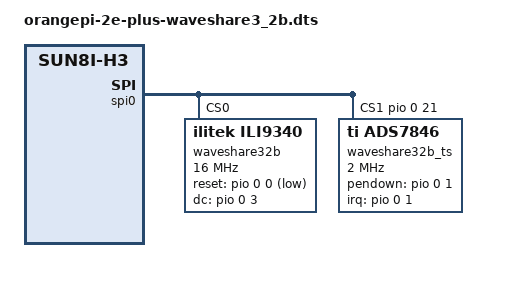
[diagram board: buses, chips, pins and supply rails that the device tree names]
/*
*	Waveshare 2.8 A / 3.2 B tft and touch overlay for Orange Pi PC2, maybe other H5 devices.
* 	For Orange Pi Zero and Zero Plus change the Compatible line and change PA21 to PA10 
*/

/dts-v1/; 
/plugin/;

/ {
    compatible = "allwinner,sun8i-h3";

	fragment@0 {
		target = <&pio>;
		__overlay__ {
			spi0_cs1: spi0_cs1 {
				allwinner,pins = "PA21" ;
				allwinner,function = "gpio_out" ;
				output-high;
			};
		};
	};

	fragment@1 {
		target = <&spi0>;
		__overlay__ {
			pinctrl-names = "default", "default";
			pinctrl-1 = <&spi0_cs1>;
			cs-gpios = <0>, <&pio 0 21 0>; /* PA21 is where the touch panel CS connects to an orange pi pc2 on the waveshare module */
		};
	};

	fragment@2 {
		target = <&spi0>;
		__overlay__ {
			status = "okay";

			spidev@0{
				status = "disabled";
			};

			spidev@1{
				status = "disabled";
			};
		};
	};


	fragment@3 {
		target = <&pio>;
		__overlay__ {
			waveshare32b_pins: waveshare32b_pins {
				allwinner,pins = "PA0", "PA3" ;
				allwinner,function = "gpio_in" ;
			};
			waveshare32b_ts_pins: waveshare32b_ts_pins {
				allwinner,pins = "PA1" ;
				allwinner,function = "irq" ;
			};
		};
	};

	fragment@4 {
		target = <&spi0>;
		__overlay__ {
			/* needed to avoid dtc warning */
			#address-cells = <1>;
			#size-cells = <0>;

			waveshare32b: waveshare32b@0 {
				compatible = "ilitek,ili9340";
				reg = <0>;
				pinctrl-names = "default";
				pinctrl-0 = <&waveshare32b_pins>;

				spi-max-frequency = <16000000>;
				txbuflen = <32768>;
				rotate = <270>;
				fps = <25>;
				bgr = <0>;
				buswidth = <8>;
				reset-gpios = <&pio 0 0 1>;
				dc-gpios = <&pio 0 3 0>;
				debug = <1>;
			};

			waveshare32b_ts: waveshare32b-ts@1 {
				compatible = "ti,ads7846";
				reg = <1>;
				pinctrl-names = "default";
				pinctrl-0 = <&waveshare32b_ts_pins>;
				spi-max-frequency = <2000000>;
				interrupts = <0 1 2>; 
				interrupt-parent = <&pio>;
				pendown-gpio = <&pio 0 1 0>;
				ti,x-min = /bits/ 16 <0>;
				ti,y-min = /bits/ 16 <0>;
				ti,x-max = /bits/ 16 <0x0FFF>;
				ti,y-max = /bits/ 16 <0x0FFF>;
				ti,pressure-min = /bits/ 16 <0>;
				ti,pressure-max = /bits/ 16 <0xFFFF>; 
				ti,x-plate-ohms = /bits/ 16 <400>; 
				};
		};
	};

	__overrides__ {
		speed =   	<&waveshare32b>,"spi-max-frequency:0";
		txbuflen =	<&waveshare32b>,"txbuflen:0";
		rotate =  	<&waveshare32b>,"rotate:0";
		fps =     	<&waveshare32b>,"fps:0";
		bgr =		<&waveshare32b>,"bgr:0";
		debug =   	<&waveshare32b>,"debug:0";

		swapxy =  	<&waveshare32b_ts>,"ti,swap-xy?";
		xmin = 		<&waveshare32b_ts>,"ti,x-min;0";
		ymin = 		<&waveshare32b_ts>,"ti,y-min;0";
		xmax = 		<&waveshare32b_ts>,"ti,x-max;0";
		ymax = 		<&waveshare32b_ts>,"ti,y-max;0";
		pmin = 		<&waveshare32b_ts>,"ti,pressure-min;0";
		pmax = 		<&waveshare32b_ts>,"ti,pressure-max;0";
		xohms = 	<&waveshare32b_ts>,"ti,x-plate-ohms;0";
	}; 
};
